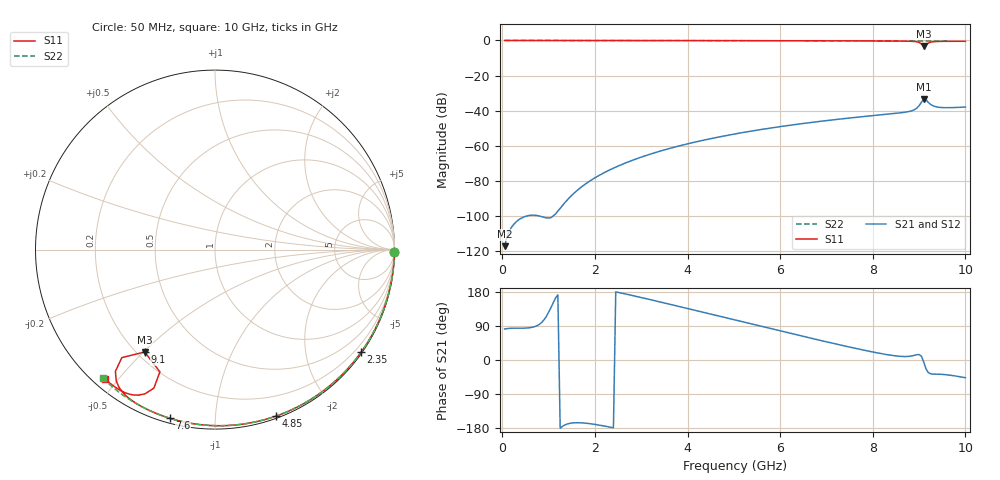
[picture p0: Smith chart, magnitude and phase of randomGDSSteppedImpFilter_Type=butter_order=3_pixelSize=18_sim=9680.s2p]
! freq	dB(S11)	phase(S11)	dB(S12)	phase(S12)
!  dB(S21)	phase(S21)	dB(S22)	phase(S22)
!S-par simulation data
#  GHz  S  DB  R 50
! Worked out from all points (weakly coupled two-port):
!   200 points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, 50 MHz to 10 GHz, reference 50 ohm
!   highest |S21| = -33.45 dB at 9.1 GHz (marker M1); lowest = -117.0 dB at 50 MHz (marker M2)
!   lowest |S11| = -3.2 dB at 9.1 GHz (marker M3), VSWR 5.49, Z = 11.5 - j25.2 ohm
!   |S11| at or under -10 dB: nowhere
!   |S22| runs from -0.4 to 0.0 dB; largest |S21 - S12| = 0
!   S11 on the Smith chart (normalised r, x): 50 MHz: open; 2.35 GHz: 0.03, -3.16; 4.85 GHz: 0.02, -1.43; 7.6 GHz: 0.02, -0.77; 9.1 GHz: 0.23, -0.50; 10 GHz: 0.03, -0.46
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0.05  -0.00 -0.8  -116.99 81.9  -116.99 81.9  -0.00 -0.8
1.75  -0.03 -26.3  -82.49 -166.2  -82.49 -166.2  -0.03 -26.1
1.9  -0.04 -28.5  -79.76 -168.1  -79.76 -168.1  -0.04 -28.3
2.35  -0.05 -35.1  -73.23 -177.7  -73.23 -177.7  -0.04 -34.9
2.85  -0.06 -42.3  -67.75 169.1  -67.75 169.1  -0.05 -42.0
3.4  -0.07 -50.2  -62.99 153.4  -62.99 153.4  -0.07 -49.8
4.85  -0.10 -70.0  -54.02 110.6  -54.02 110.6  -0.10 -69.4
5.05  -0.11 -72.6  -53.04 104.7  -53.04 104.7  -0.11 -72.0
6.7  -0.18 -93.8  -46.53 56.5  -46.53 56.5  -0.18 -92.8
7.6  -0.24 -104.9  -43.83 31.4  -43.83 31.4  -0.23 -103.6
8.35  -0.30 -114.6  -41.86 13.3  -41.86 13.3  -0.29 -112.4
8.75  -0.41 -121.1  -40.59 9.3  -40.59 9.3  -0.32 -117.0
8.9  -0.59 -125.0  -39.36 12.3  -39.36 12.3  -0.33 -118.7
9  -1.14 -129.3  -37.11 14.4  -37.11 14.4  -0.34 -119.8
9.05  -2.00 -130.8  -35.13 10.0  -35.13 10.0  -0.35 -120.4
9.1  -3.20 -124.5  -33.45 -5.1  -33.45 -5.1  -0.35 -120.9
9.15  -2.53 -114.2  -33.81 -23.7  -33.81 -23.7  -0.35 -121.5
9.2  -1.48 -113.8  -35.23 -33.3  -35.23 -33.3  -0.36 -122.1
9.25  -0.99 -115.9  -36.39 -36.4  -36.39 -36.4  -0.36 -122.7
9.35  -0.64 -119.3  -37.62 -37.3  -37.62 -37.3  -0.37 -123.8
9.5  -0.51 -122.8  -38.17 -37.9  -38.17 -37.9  -0.39 -125.5
10  -0.48 -130.2  -37.87 -46.7  -37.87 -46.7  -0.44 -131.1
